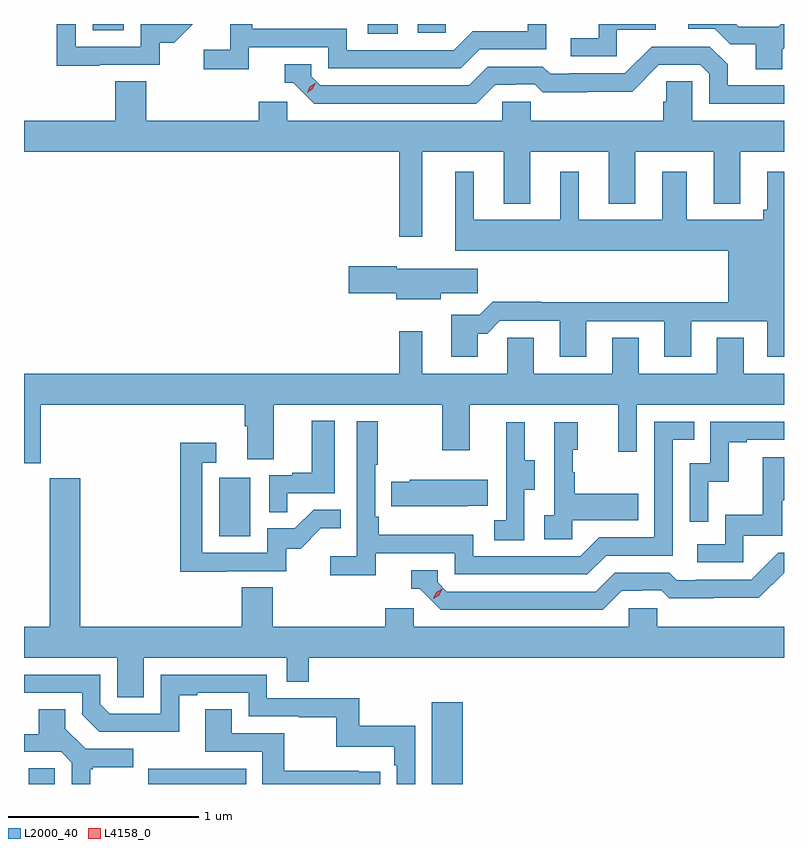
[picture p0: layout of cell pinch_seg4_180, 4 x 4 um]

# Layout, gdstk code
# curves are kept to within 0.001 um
import gdstk
lib = gdstk.Library(unit=1e-6, precision=1e-09)
def R(c, l, rs):  # rectangles x0, y0, x1, y1
    for r in rs: c.add(gdstk.rectangle(r[:2], r[2:], *l))
def P(c, l, *ps):  # polygons
    for p in ps: c.add(gdstk.Polygon(p, *l))
L2000_40 = (2000, 40)
L4158_0 = (4158, 0)

pinch_seg4_180 = lib.new_cell('pinch_seg4_180')
R(pinch_seg4_180, L2000_40, [(1080.955,804.148,1081.092,804.231), (1081.584,804.148,1082.099,804.228), (1083.077,804.148,1083.238,804.577), (1081.958,805.452,1082.122,805.759), (1082.739,808.096,1082.898,808.148), (1083.003,808.101,1083.15,808.148), (1081.292,808.116,1081.456,808.148)])
P(pinch_seg4_180, L2000_40, [(1084.921,808.012),(1084.93,808.021),(1084.93,808.148),(1084.913,808.148),(1084.899,808.134),(1084.693,808.134),(1084.679,808.148),(1084.425,808.148),(1084.425,808.122),(1084.566,808.122),(1084.646,808.042),(1084.781,808.042),(1084.781,807.91),(1084.921,807.91)],
  [(1081.325,807.933),(1081.644,807.933),(1081.644,808.05),(1081.72,808.05),(1081.818,808.148),(1081.545,808.148),(1081.545,808.029),(1081.203,808.029),(1081.203,808.148),(1081.102,808.148),(1081.102,807.928),(1081.325,807.928)],
  [(1084.05,808.119),(1084.255,808.119),(1084.255,808.148),(1083.954,808.148),(1083.954,808.074),(1083.807,808.074),(1083.807,807.978),(1084.05,807.978)],
  [(1082.114,808.026),(1082.532,808.026),(1082.532,807.915),(1083.229,807.915),(1083.328,808.014),(1083.678,808.014),(1083.678,808.148),(1083.582,808.148),(1083.582,808.11),(1083.291,808.11),(1083.192,808.011),(1082.628,808.011),(1082.628,808.123),(1082.132,808.123),(1082.132,808.148),(1082.016,808.148),(1082.016,808.012),(1081.875,808.012),(1081.875,807.91),(1082.114,807.91)],
  [(1083.409,807.828),(1083.516,807.828),(1083.516,807.831),(1083.619,807.831),(1083.661,807.789),(1083.894,807.789),(1083.894,807.791),(1084.13,807.791),(1084.272,807.933),(1084.488,807.933),(1084.536,807.885),(1084.536,807.729),(1084.93,807.729),(1084.93,807.825),(1084.633,807.825),(1084.633,807.935),(1084.539,808.029),(1084.233,808.029),(1084.092,807.888),(1083.799,807.888),(1083.799,807.885),(1083.7,807.885),(1083.661,807.924),(1083.372,807.924),(1083.273,807.825),(1082.49,807.825),(1082.442,807.873),(1082.442,807.936),(1082.303,807.936),(1082.303,807.84),(1082.346,807.84),(1082.457,807.729),(1083.31,807.729)],
  [(1083.025,807.476),(1083.455,807.476),(1083.455,807.203),(1083.595,807.203),(1083.595,807.476),(1084.007,807.476),(1084.007,807.203),(1084.147,807.203),(1084.147,807.476),(1084.559,807.476),(1084.559,807.203),(1084.699,807.203),(1084.699,807.476),(1084.93,807.476),(1084.93,807.64),(1084.446,807.64),(1084.446,807.848),(1084.309,807.848),(1084.309,807.738),(1084.295,807.738),(1084.295,807.64),(1083.597,807.64),(1083.597,807.738),(1083.447,807.738),(1083.447,807.64),(1082.316,807.64),(1082.316,807.738),(1082.165,807.738),(1082.165,807.64),(1081.574,807.64),(1081.574,807.848),(1081.409,807.848),(1081.409,807.64),(1080.93,807.64),(1080.93,807.476),(1082.904,807.476),(1082.904,807.027),(1083.025,807.027)],
  [(1083.319,806.519),(1083.368,806.519),(1083.435,806.586),(1083.749,806.586),(1083.749,806.397),(1083.889,806.397),(1083.889,806.583),(1084.301,806.583),(1084.301,806.397),(1084.441,806.397),(1084.441,806.583),(1084.841,806.583),(1084.841,806.397),(1084.93,806.397),(1084.93,807.37),(1084.841,807.37),(1084.841,807.171),(1084.822,807.171),(1084.822,807.118),(1084.417,807.118),(1084.417,807.37),(1084.289,807.37),(1084.289,807.118),(1083.85,807.118),(1083.85,807.37),(1083.752,807.37),(1083.752,807.118),(1083.298,807.118),(1083.298,807.37),(1083.2,807.37),(1083.2,806.954),(1084.637,806.954),(1084.637,806.684),(1083.653,806.684),(1083.653,806.687),(1083.398,806.687),(1083.328,806.617),(1083.179,806.617),(1083.179,806.397),(1083.319,806.397)],
  [(1083.124,806.731),(1083.319,806.731),(1083.319,806.86),(1082.892,806.86),(1082.892,806.873),(1082.64,806.873),(1082.64,806.731),(1082.888,806.731),(1082.888,806.699),(1083.124,806.699)],
  [(1080.93,805.835),(1081.018,805.835),(1081.018,806.144),(1082.093,806.144),(1082.093,806.032),(1082.105,806.032),(1082.105,805.858),(1082.245,805.858),(1082.245,806.144),(1083.13,806.144),(1083.13,805.905),(1083.277,805.905),(1083.277,806.144),(1084.058,806.144),(1084.058,805.896),(1084.155,805.896),(1084.155,806.144),(1084.93,806.144),(1084.93,806.308),(1084.717,806.308),(1084.717,806.498),(1084.577,806.498),(1084.577,806.308),(1084.165,806.308),(1084.165,806.498),(1084.025,806.498),(1084.025,806.308),(1083.613,806.308),(1083.613,806.498),(1083.474,806.498),(1083.474,806.308),(1083.025,806.308),(1083.025,806.53),(1082.904,806.53),(1082.904,806.308),(1080.93,806.308)],
  [(1082.315,805.677),(1082.566,805.677),(1082.566,806.059),(1082.444,806.059),(1082.444,805.786),(1082.341,805.786),(1082.341,805.773),(1082.22,805.773),(1082.22,805.579),(1082.315,805.579)],
  [(1082.78,805.362),(1083.198,805.362),(1083.198,805.251),(1083.895,805.251),(1083.994,805.35),(1084.344,805.35),(1084.344,805.959),(1084.457,805.959),(1084.457,806.055),(1084.248,806.055),(1084.248,805.446),(1083.957,805.446),(1083.858,805.347),(1083.294,805.347),(1083.294,805.459),(1082.798,805.459),(1082.798,805.555),(1082.778,805.555),(1082.778,805.828),(1082.791,805.828),(1082.791,806.056),(1082.682,806.056),(1082.682,805.348),(1082.541,805.348),(1082.541,805.246),(1082.78,805.246)],
  [(1084.53,805.739),(1084.64,805.739),(1084.64,805.947),(1084.735,805.947),(1084.735,805.959),(1084.93,805.959),(1084.93,806.055),(1084.542,806.055),(1084.542,805.836),(1084.434,805.836),(1084.434,805.527),(1084.53,805.527)],
  [(1083.816,805.535),(1084.163,805.535),(1084.163,805.675),(1083.829,805.675),(1083.829,805.79),(1083.819,805.79),(1083.819,805.908),(1083.844,805.908),(1083.844,806.053),(1083.72,806.053),(1083.72,805.562),(1083.669,805.562),(1083.669,805.437),(1083.816,805.437)],
  [(1083.564,805.696),(1083.619,805.696),(1083.619,805.851),(1083.565,805.851),(1083.565,806.053),(1083.467,806.053),(1083.467,805.839),(1083.468,805.839),(1083.468,805.535),(1083.405,805.535),(1083.405,805.432),(1083.564,805.432)],
  [(1081.991,805.269),(1082.31,805.269),(1082.31,805.386),(1082.386,805.386),(1082.493,805.493),(1082.597,805.493),(1082.597,805.592),(1082.454,805.592),(1082.356,805.494),(1082.211,805.494),(1082.211,805.365),(1081.869,805.365),(1081.869,805.839),(1081.942,805.839),(1081.942,805.945),(1081.753,805.945),(1081.753,805.264),(1081.991,805.264)],
  [(1084.716,805.455),(1084.921,805.455),(1084.921,805.641),(1084.93,805.641),(1084.93,805.867),(1084.819,805.867),(1084.819,805.564),(1084.62,805.564),(1084.62,805.41),(1084.473,805.41),(1084.473,805.314),(1084.716,805.314)],
  [(1081.561,804.812),(1082.313,804.812),(1082.313,804.685),(1082.429,804.685),(1082.429,804.812),(1084.93,804.812),(1084.93,804.976),(1084.263,804.976),(1084.263,805.074),(1084.113,805.074),(1084.113,804.976),(1082.982,804.976),(1082.982,805.074),(1082.831,805.074),(1082.831,804.976),(1082.24,804.976),(1082.24,805.184),(1082.075,805.184),(1082.075,804.976),(1081.226,804.976),(1081.226,805.756),(1081.066,805.756),(1081.066,804.976),(1080.93,804.976),(1080.93,804.812),(1081.422,804.812),(1081.422,804.604),(1081.561,804.604)],
  [(1083.263,805.613),(1083.371,805.613),(1083.371,805.75),(1082.961,805.75),(1082.961,805.74),(1082.863,805.74),(1082.863,805.61),(1083.263,805.61)],
  [(1084.075,805.164),(1084.182,805.164),(1084.182,805.167),(1084.285,805.167),(1084.327,805.125),(1084.56,805.125),(1084.56,805.127),(1084.796,805.127),(1084.93,805.261),(1084.93,805.365),(1084.899,805.365),(1084.758,805.224),(1084.465,805.224),(1084.465,805.221),(1084.366,805.221),(1084.327,805.26),(1084.038,805.26),(1083.939,805.161),(1083.156,805.161),(1083.108,805.209),(1083.108,805.272),(1082.969,805.272),(1082.969,805.176),(1083.012,805.176),(1083.123,805.065),(1083.976,805.065)],
  [(1082.988,804.454),(1082.695,804.454),(1082.695,804.6),(1082.208,804.6),(1082.208,804.723),(1081.65,804.723),(1081.65,804.519),(1081.38,804.519),(1081.332,804.567),(1081.332,804.723),(1080.93,804.723),(1080.93,804.627),(1081.236,804.627),(1081.236,804.513),(1081.326,804.423),(1081.747,804.422),(1081.747,804.615),(1081.843,804.615),(1081.843,804.627),(1082.112,804.627),(1082.112,804.504),(1082.377,804.504),(1082.377,804.499),(1082.574,804.499),(1082.574,804.344),(1082.879,804.344),(1082.879,804.248),(1082.892,804.248),(1082.892,804.148),(1082.988,804.148)],
  [(1081.279,804.225),(1081.291,804.225),(1081.291,804.236),(1081.504,804.236),(1081.504,804.333),(1081.254,804.333),(1081.147,804.44),(1081.147,804.542),(1081.007,804.542),(1081.007,804.41),(1080.93,804.41),(1080.93,804.318),(1081.125,804.318),(1081.182,804.261),(1081.182,804.148),(1081.279,804.148)],
  [(1082.806,804.213),(1082.693,804.213),(1082.693,804.218),(1082.3,804.218),(1082.3,804.414),(1082.023,804.414),(1082.023,804.542),(1081.883,804.542),(1081.883,804.318),(1082.184,804.318),(1082.184,804.148),(1082.806,804.148)])
P(pinch_seg4_180, L4158_0, [(1082.42,807.786),(1082.42,807.786),(1082.435,807.819),(1082.466,807.839),(1082.466,807.839),(1082.466,807.839),(1082.451,807.806),(1082.42,807.786)],
  [(1083.084,805.124),(1083.084,805.124),(1083.101,805.156),(1083.132,805.175),(1083.132,805.175),(1083.132,805.174),(1083.116,805.142),(1083.084,805.124)])

lib.write_gds('pinch_seg4_180.gds')
